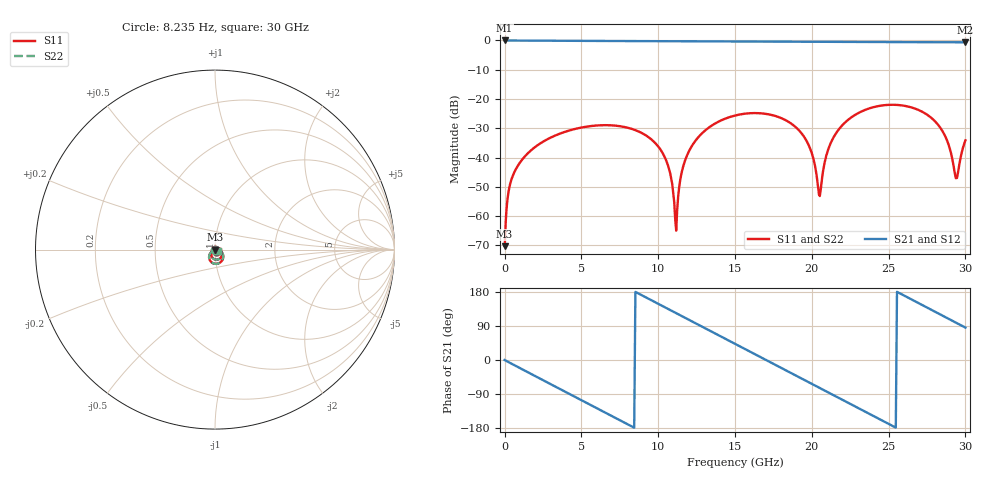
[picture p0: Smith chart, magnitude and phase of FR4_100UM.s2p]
! Created Tue Apr  6 14:22:18 2021
! List of port names and net name(s): example Port n = <port_name> <net_name1> <net_name2> ...
! Port 1 = P1 P1
! Port 2 = P2 P2
# hz S ri R 50
! 2 Port Network Data from data block
! freq  reS11  imS11  reS21  imS21  reS12  imS12  reS22  imS22
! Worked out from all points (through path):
!   443 points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, 8.235 Hz to 30 GHz, reference 50 ohm
!   highest |S21| = 0.00 dB at 20.69 kHz (marker M1); lowest = -0.6 dB at 30 GHz (marker M2)
!   group delay of S21, straight-line fit = 58.7 ps
!   lowest |S11| = -70.2 dB at 8.235 Hz (marker M3), VSWR 1.00, Z = 50 + j7.76e-09 ohm
!   |S11| at or under -10 dB: start of sweep to end of sweep
!   |S22| runs from -70.2 to -22.0 dB; largest |S21 - S12| = 0
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8.235098  0.000308 7.75e-11  0.9997 -3.19e-09  0.9997 -3.19e-09  0.000308 7.75e-11
20685.63  0.000308 1.95e-07  0.9997 -8.01e-06  0.9997 -8.01e-06  0.000308 1.95e-07
2.083333e8  0.00103 0.00188  0.9951 -0.079  0.9951 -0.079  0.00103 0.00188
9.375e8  0.00456 0.00633  0.9346 -0.3418  0.9346 -0.3418  0.00456 0.00633
3.125e9  0.0214 0.00783  0.3951 -0.906  0.3951 -0.906  0.0214 0.00783
5.078125e9  0.0313 -0.0102  -0.2993 -0.9366  -0.2993 -0.9366  0.0313 -0.0102
7.65625e9  0.0111 -0.032  -0.93 -0.2993  -0.93 -0.2993  0.0111 -0.032
1.00651e10  -0.0074 -0.0127  -0.815 0.5294  -0.815 0.5294  -0.0074 -0.0127
1.065104e10  -0.00465 -0.00547  -0.6817 0.6909  -0.6817 0.6909  -0.00465 -0.00547
1.117188e10  0.000482 -0.000299  -0.5367 0.8073  -0.5367 0.8073  0.000482 -0.0003
1.15625e10  0.00567 0.00223  -0.415 0.8752  -0.415 0.8752  0.00567 0.00223
1.221354e10  0.0159 0.00303  -0.1947 0.9472  -0.1947 0.9472  0.0159 0.00303
1.510417e10  0.0352 -0.0397  0.7283 0.6245  0.7283 0.6245  0.0352 -0.0397
1.84375e10  -0.0187 -0.0371  0.8277 -0.4717  0.8277 -0.4717  -0.0187 -0.0371
2.010417e10  -0.0075 -0.00599  0.4025 -0.8606  0.4025 -0.8606  -0.0075 -0.00599
2.052083e10  0.000998 -0.00197  0.2654 -0.9115  0.2654 -0.9115  0.000998 -0.00197
2.098958e10  0.0119 -0.000725  0.1041 -0.9426  0.1041 -0.9426  0.0119 -0.000725
2.166667e10  0.0276 -0.00563  -0.1326 -0.9374  -0.1326 -0.9374  0.0276 -0.00563
2.507812e10  0.015 -0.0783  -0.9236 -0.1593  -0.9236 -0.1593  0.015 -0.0783
2.804688e10  -0.0301 -0.0279  -0.5618 0.7456  -0.5618 0.7456  -0.0301 -0.0279
2.9375e10  -0.000466 -0.00442  -0.1424 0.9207  -0.1424 0.9207  -0.000466 -0.00442
3e10  0.0189 -0.00549  0.0728 0.9274  0.0728 0.9274  0.0189 -0.00549
